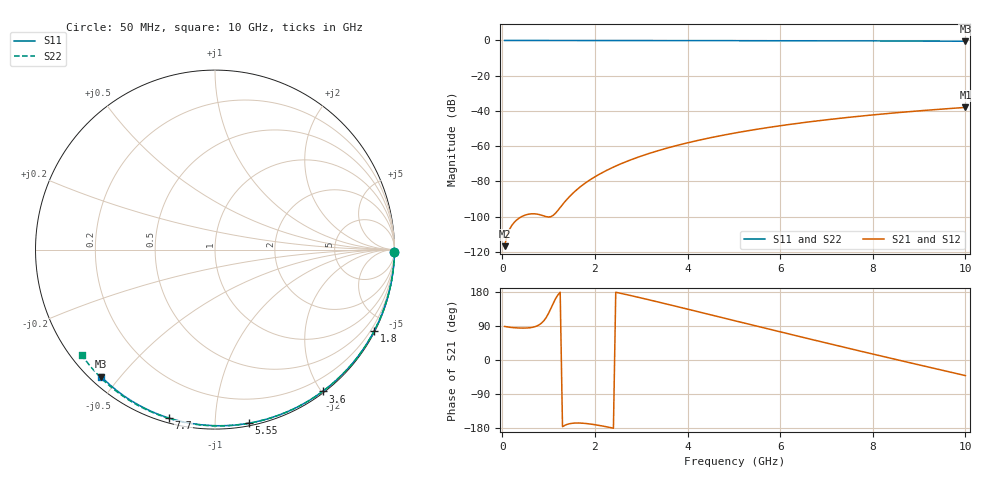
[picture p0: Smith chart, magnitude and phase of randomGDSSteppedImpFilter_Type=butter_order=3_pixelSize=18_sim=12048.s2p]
! freq	dB(S11)	phase(S11)	dB(S12)	phase(S12)
!  dB(S21)	phase(S21)	dB(S22)	phase(S22)
!S-par simulation data
#  GHz  S  DB  R 50
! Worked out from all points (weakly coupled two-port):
!   200 points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, 50 MHz to 10 GHz, reference 50 ohm
!   highest |S21| = -38.04 dB at 10 GHz (marker M1); lowest = -116.8 dB at 50 MHz (marker M2)
!   lowest |S11| = -0.4 dB at 10 GHz (marker M3), VSWR 39.07, Z = 1.54 - j22.4 ohm
!   |S11| at or under -10 dB: nowhere
!   |S22| runs from -0.5 to 0.0 dB; largest |S21 - S12| = 0
!   S11 on the Smith chart (normalised r, x): 50 MHz: open; 1.8 GHz: 0.04, -4.16; 3.6 GHz: 0.02, -2.01; 5.55 GHz: 0.02, -1.22; 7.7 GHz: 0.02, -0.76; 10 GHz: 0.03, -0.45
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0.05  -0.00 -0.8  -116.83 88.6  -116.83 88.6  -0.00 -0.8
0.45  -0.01 -6.9  -99.64 84.2  -99.64 84.2  -0.01 -7.4
0.9  -0.02 -13.6  -99.68 104.0  -99.68 104.0  -0.02 -14.7
1.75  -0.03 -26.3  -81.79 -166.9  -81.79 -166.9  -0.04 -28.2
1.8  -0.03 -27.0  -80.84 -167.5  -80.84 -167.5  -0.04 -29.0
1.85  -0.04 -27.7  -79.93 -168.2  -79.93 -168.2  -0.04 -29.8
2  -0.04 -29.9  -77.43 -170.7  -77.43 -170.7  -0.04 -32.2
2.15  -0.04 -32.1  -75.20 -173.9  -75.20 -173.9  -0.04 -34.5
2.35  -0.04 -35.0  -72.54 -178.7  -72.54 -178.7  -0.05 -37.6
2.55  -0.05 -37.9  -70.17 176.2  -70.17 176.2  -0.05 -40.7
2.95  -0.06 -43.7  -66.11 165.1  -66.11 165.1  -0.06 -46.9
3.4  -0.07 -50.0  -62.32 152.1  -62.32 152.1  -0.07 -53.7
3.6  -0.07 -52.8  -60.83 146.2  -60.83 146.2  -0.08 -56.7
4.3  -0.09 -62.4  -56.33 125.3  -56.33 125.3  -0.09 -66.9
5.05  -0.11 -72.4  -52.43 102.8  -52.43 102.8  -0.12 -77.6
5.55  -0.13 -78.9  -50.22 87.8  -50.22 87.8  -0.14 -84.5
6.1  -0.15 -85.9  -48.07 71.4  -48.07 71.4  -0.16 -92.0
6.7  -0.18 -93.3  -46.00 53.6  -46.00 53.6  -0.19 -99.9
7.7  -0.24 -105.3  -43.06 24.4  -43.06 24.4  -0.26 -112.8
8.35  -0.29 -112.9  -41.43 5.6  -41.43 5.6  -0.31 -121.1
9.2  -0.36 -122.7  -39.56 -18.6  -39.56 -18.6  -0.39 -131.7
10  -0.44 -131.8  -38.04 -41.2  -38.04 -41.2  -0.48 -141.7
